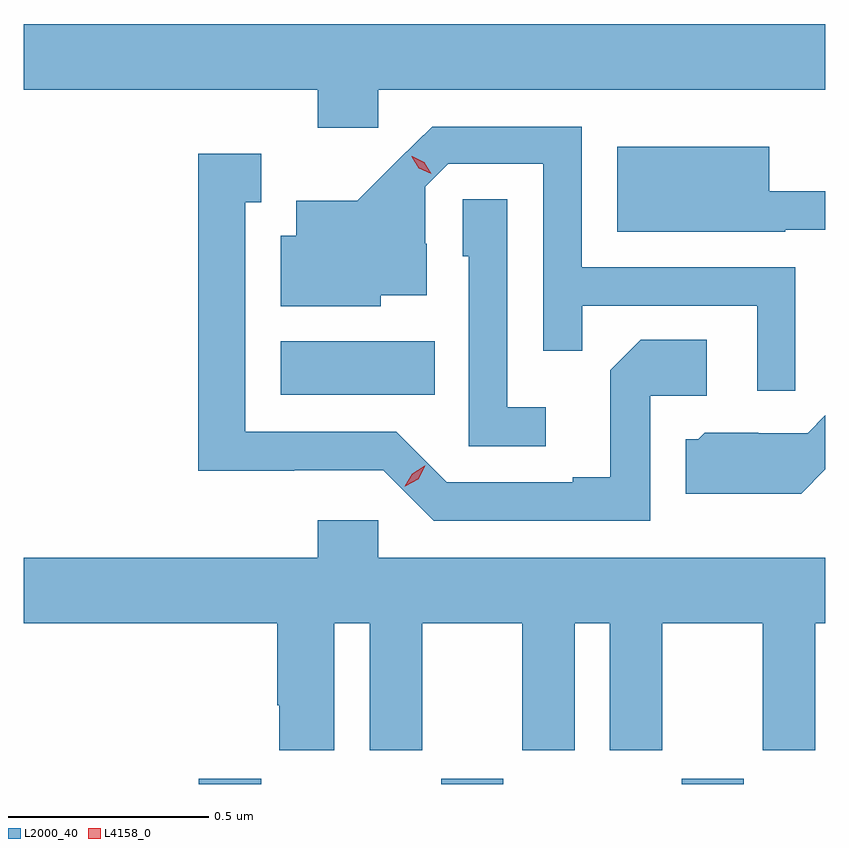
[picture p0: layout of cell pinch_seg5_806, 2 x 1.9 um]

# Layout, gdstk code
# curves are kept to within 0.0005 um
import gdstk
lib = gdstk.Library(unit=1e-6, precision=1e-09)
def R(c, l, rs):  # rectangles x0, y0, x1, y1
    for r in rs: c.add(gdstk.rectangle(r[:2], r[2:], *l))
def P(c, l, *ps):  # polygons
    for p in ps: c.add(gdstk.Polygon(p, *l))
L2000_40 = (2000, 40)
L4158_0 = (4158, 0)

pinch_seg5_806 = lib.new_cell('pinch_seg5_806')
R(pinch_seg5_806, L2000_40, [(760.544,901.647,760.699,901.66), (761.149,901.647,761.304,901.66), (761.749,901.647,761.904,901.66), (760.748,902.618,761.132,902.752)])
P(pinch_seg5_806, L2000_40, [(760.992,903.38),(762.107,903.38),(762.107,903.544),(760.107,903.544),(760.107,903.38),(760.841,903.38),(760.841,903.285),(760.992,903.285)],
  [(762.033,902.937),(761.499,902.937),(761.499,903.288),(761.126,903.288),(760.939,903.103),(760.787,903.103),(760.787,903.016),(760.748,903.016),(760.748,902.84),(760.998,902.84),(760.998,902.867),(761.113,902.867),(761.113,902.996),(761.109,902.996),(761.109,903.138),(761.166,903.195),(761.403,903.195),(761.403,902.728),(761.501,902.728),(761.501,902.841),(761.937,902.841),(761.937,902.628),(762.033,902.628)],
  [(762.008,903.03),(762.107,903.03),(762.107,903.127),(761.968,903.127),(761.968,903.238),(761.588,903.238),(761.588,903.026),(762.008,903.026)],
  [(761.67,902.616),(761.812,902.616),(761.812,902.756),(761.647,902.756),(761.571,902.68),(761.571,902.413),(761.477,902.413),(761.477,902.4),(761.163,902.4),(761.037,902.526),(760.66,902.526),(760.66,903.099),(760.699,903.099),(760.699,903.22),(760.542,903.22),(760.542,902.429),(760.782,902.429),(760.782,902.43),(761.004,902.43),(761.13,902.304),(761.67,902.304)],
  [(761.41,902.587),(761.313,902.587),(761.313,903.107),(761.202,903.107),(761.202,902.964),(761.217,902.964),(761.217,902.49),(761.41,902.49)],
  [(762.107,902.433),(762.107,902.567),(762.063,902.523),(761.94,902.523),(761.94,902.524),(761.806,902.524),(761.79,902.508),(761.759,902.508),(761.759,902.372),(762.047,902.372)],
  [(760.882,902.048),(760.97,902.048),(760.97,901.731),(761.101,901.731),(761.101,902.048),(761.351,902.048),(761.351,901.731),(761.482,901.731),(761.482,902.048),(761.57,902.048),(761.57,901.731),(761.701,901.731),(761.701,902.048),(761.951,902.048),(761.951,901.731),(762.082,901.731),(762.082,902.048),(762.107,902.048),(762.107,902.212),(760.992,902.212),(760.992,902.305),(760.841,902.305),(760.841,902.212),(760.107,902.212),(760.107,902.048),(760.739,902.048),(760.739,901.843),(760.745,901.843),(760.745,901.731),(760.882,901.731)])
P(pinch_seg5_806, L4158_0, [(761.124,903.17),(761.093,903.184),(761.075,903.213),(761.075,903.214),(761.076,903.214),(761.106,903.199),(761.124,903.17),(761.124,903.17)],
  [(761.058,902.39),(761.058,902.39),(761.076,902.422),(761.108,902.441),(761.109,902.441),(761.109,902.441),(761.091,902.408),(761.059,902.39)])

lib.write_gds('pinch_seg5_806.gds')
